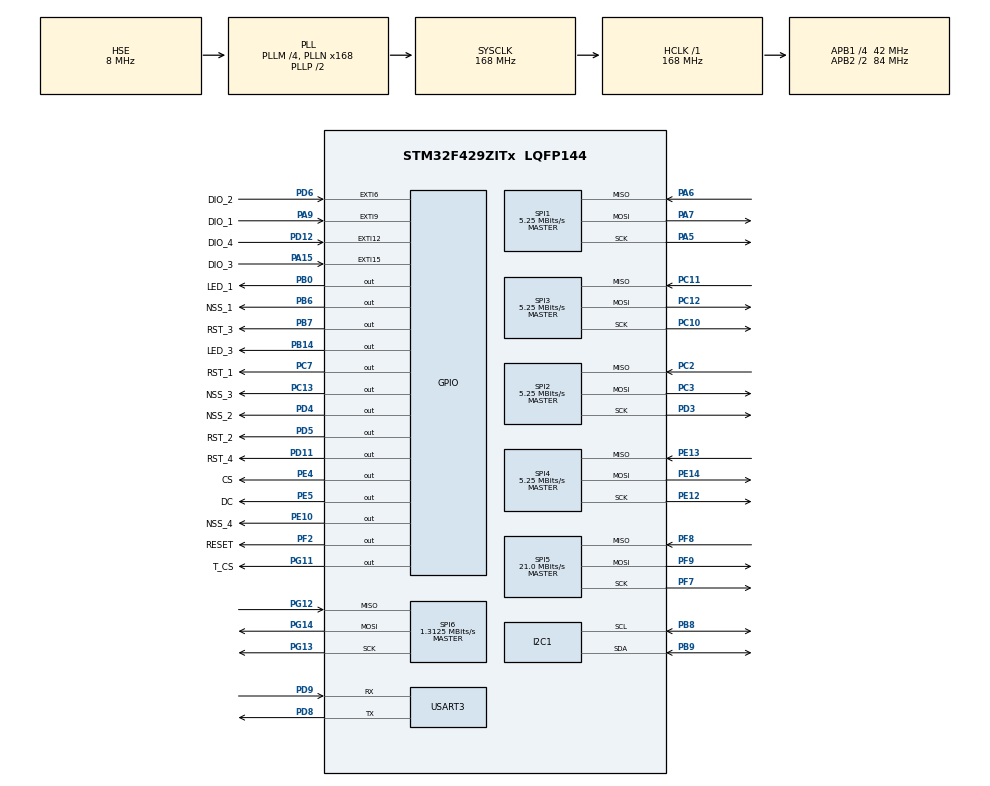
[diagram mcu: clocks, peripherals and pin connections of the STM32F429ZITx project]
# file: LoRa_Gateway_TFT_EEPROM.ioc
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Dma.Request0=SPI5_TX
Dma.SPI5_TX.0.Direction=DMA_MEMORY_TO_PERIPH
Dma.SPI5_TX.0.FIFOMode=DMA_FIFOMODE_DISABLE
Dma.SPI5_TX.0.Instance=DMA2_Stream4
Dma.SPI5_TX.0.MemDataAlignment=DMA_MDATAALIGN_BYTE
Dma.SPI5_TX.0.MemInc=DMA_MINC_ENABLE
Dma.SPI5_TX.0.Mode=DMA_NORMAL
Dma.SPI5_TX.0.PeriphDataAlignment=DMA_PDATAALIGN_BYTE
Dma.SPI5_TX.0.PeriphInc=DMA_PINC_DISABLE
Dma.SPI5_TX.0.Priority=DMA_PRIORITY_LOW
FREERTOS.BinarySemaphores01=sem_lora_uart,Dynamic,NULL,Available
FREERTOS.Tasks01=TaskInit,1,512,Fn_Task_Taskinit,Default,NULL,Dynamic,NULL,NULL;Task_LoRa_1,0,256,Fn_Task_LoRa_First,Default,NULL,Dynamic,NULL,NULL;Task_LoRa_2,0,256,Fn_Task_LoRa_Second,Default,NULL,Dynamic,NULL,NULL;Task_LoRa_3,0,256,Fn_Task_LoRa_Third,Default,NULL,Dynamic,NULL,NULL;Task_LoRa_4,0,256,Fn_Task_LoRa_Fourth,Default,NULL,Dynamic,NULL,NULL;Task_LVGL,0,2048,Fn_Task_Display,Default,NULL,Dynamic,NULL,NULL;Task_Monitor,-2,256,Fn_Task_Monitor,Default,NULL,Dynamic,NULL,NULL
FREERTOS.INCLUDE_uxTaskGetStackHighWaterMark=1
FREERTOS.configTOTAL_HEAP_SIZE=32768
FREERTOS.configMINIMAL_STACK_SIZE=256
FREERTOS.configUSE_NEWLIB_REENTRANT=1
I2C1.I2C_Mode=I2C_Fast
IWDG.Prescaler=IWDG_PRESCALER_64
IWDG.Reload=999
Mcu.Family=STM32F4
Mcu.Name=STM32F429ZITx
Mcu.Package=LQFP144
NVIC.DMA2_Stream4_IRQn=true\:5\:0\:false\:false\:true\:true\:false\:true\:true
NVIC.EXTI15_10_IRQn=true\:5\:0\:false\:false\:true\:true\:true\:true\:true
NVIC.EXTI9_5_IRQn=true\:5\:0\:false\:false\:true\:true\:true\:true\:true
NVIC.I2C1_EV_IRQn=true\:5\:0\:false\:false\:true\:true\:true\:true\:true
NVIC.PriorityGroup=NVIC_PRIORITYGROUP_4
NVIC.RCC_IRQn=true\:5\:0\:false\:false\:true\:true\:true\:false\:true
NVIC.SPI4_IRQn=true\:5\:0\:false\:false\:true\:true\:true\:true\:true
NVIC.SPI5_IRQn=true\:5\:0\:false\:false\:true\:true\:true\:true\:true
NVIC.SPI6_IRQn=true\:5\:0\:false\:false\:true\:true\:true\:true\:true
NVIC.TIM6_DAC_IRQn=true\:15\:0\:false\:false\:true\:false\:false\:true\:true
NVIC.TimeBase=TIM6_DAC_IRQn
NVIC.TimeBaseIP=TIM6
NVIC.USART3_IRQn=true\:5\:0\:false\:false\:true\:true\:true\:true\:true
PA13.Mode=Serial_Wire
PA13.Signal=SYS_JTMS-SWDIO
PA14.Mode=Serial_Wire
PA14.Signal=SYS_JTCK-SWCLK
PA15.GPIO_Label=DIO_3
PA15.Signal=GPXTI15
PA5.Mode=Full_Duplex_Master
PA5.Signal=SPI1_SCK
PA6.Mode=Full_Duplex_Master
PA6.Signal=SPI1_MISO
PA7.Mode=Full_Duplex_Master
PA7.Signal=SPI1_MOSI
PA9.GPIO_Label=DIO_1
PA9.Signal=GPXTI9
PB0.GPIO_Label=LED_1
PB0.Signal=GPIO_Output
PB14.GPIO_Label=LED_3
PB14.Signal=GPIO_Output
PB6.GPIO_Label=NSS_1
PB6.PinState=GPIO_PIN_SET
PB6.Signal=GPIO_Output
PB7.GPIO_Label=RST_3
PB7.PinState=GPIO_PIN_SET
PB7.Signal=GPIO_Output
PB8.Mode=I2C
PB8.Signal=I2C1_SCL
PB9.Mode=I2C
PB9.Signal=I2C1_SDA
PC10.Mode=Full_Duplex_Master
PC10.Signal=SPI3_SCK
PC11.Mode=Full_Duplex_Master
PC11.Signal=SPI3_MISO
PC12.Mode=Full_Duplex_Master
PC12.Signal=SPI3_MOSI
PC13.GPIO_Label=NSS_3
PC13.PinState=GPIO_PIN_SET
PC13.Signal=GPIO_Output
PC14/OSC32_IN.Mode=LSE-External-Oscillator
PC14/OSC32_IN.Signal=RCC_OSC32_IN
PC15/OSC32_OUT.Mode=LSE-External-Oscillator
PC15/OSC32_OUT.Signal=RCC_OSC32_OUT
PC2.Mode=Full_Duplex_Master
PC2.Signal=SPI2_MISO
PC3.Mode=Full_Duplex_Master
PC3.Signal=SPI2_MOSI
PC7.GPIO_Label=RST_1
PC7.PinState=GPIO_PIN_SET
PC7.Signal=GPIO_Output
PD11.GPIO_Label=RST_4
PD11.PinState=GPIO_PIN_SET
PD11.Signal=GPIO_Output
PD12.GPIO_Label=DIO_4
PD12.Signal=GPXTI12
PD3.Mode=Full_Duplex_Master
PD3.Signal=SPI2_SCK
PD4.GPIO_Label=NSS_2
PD4.PinState=GPIO_PIN_SET
PD4.Signal=GPIO_Output
PD5.GPIO_Label=RST_2
PD5.PinState=GPIO_PIN_SET
PD5.Signal=GPIO_Output
PD6.GPIO_Label=DIO_2
PD6.Signal=GPXTI6
PD8.Mode=Asynchronous
PD8.Signal=USART3_TX
PD9.Mode=Asynchronous
PD9.Signal=USART3_RX
PE10.GPIO_Label=NSS_4
PE10.PinState=GPIO_PIN_SET
PE10.Signal=GPIO_Output
PE12.Mode=Full_Duplex_Master
PE12.Signal=SPI4_SCK
PE13.Mode=Full_Duplex_Master
PE13.Signal=SPI4_MISO
PE14.Mode=Full_Duplex_Master
PE14.Signal=SPI4_MOSI
PE4.GPIO_Label=CS
PE4.Signal=GPIO_Output
PE5.GPIO_Label=DC
PE5.Signal=GPIO_Output
PF2.GPIO_Label=RESET
PF2.Signal=GPIO_Output
PF7.Mode=Full_Duplex_Master
PF7.Signal=SPI5_SCK
PF8.Mode=Full_Duplex_Master
PF8.Signal=SPI5_MISO
PF9.Mode=Full_Duplex_Master
PF9.Signal=SPI5_MOSI
PG11.GPIO_Label=T_CS
PG11.PinState=GPIO_PIN_SET
PG11.Signal=GPIO_Output
PG12.Mode=Full_Duplex_Master
PG12.Signal=SPI6_MISO
PG13.Mode=Full_Duplex_Master
PG13.Signal=SPI6_SCK
PG14.Mode=Full_Duplex_Master
PG14.Signal=SPI6_MOSI
PH0/OSC_IN.Mode=HSE-External-Oscillator
PH0/OSC_IN.Signal=RCC_OSC_IN
PH1/OSC_OUT.Mode=HSE-External-Oscillator
PH1/OSC_OUT.Signal=RCC_OSC_OUT
ProjectManager.HeapSize=0x200
ProjectManager.StackSize=0x400
ProjectManager.TargetToolchain=STM32CubeIDE
RCC.48MHZClocksFreq_Value=48000000
RCC.AHBFreq_Value=168000000
RCC.APB1CLKDivider=RCC_HCLK_DIV4
RCC.APB1Freq_Value=42000000
RCC.APB1TimFreq_Value=84000000
RCC.APB2CLKDivider=RCC_HCLK_DIV2
RCC.APB2Freq_Value=84000000
RCC.APB2TimCLKDivider=2
RCC.APB2TimFreq_Value=168000000
RCC.CortexFreq_Value=168000000
RCC.HCLKFreq_Value=168000000
RCC.HSE_VALUE=8000000
RCC.HSI_VALUE=16000000
RCC.PLLM=4
RCC.PLLMUL=RCC_PLL_MUL9
RCC.PLLN=168
RCC.PLLQ=7
RCC.PLLSourceVirtual=RCC_PLLSOURCE_HSE
RCC.PRESCALERUSB=RCC_USBCLKSOURCE_PLL_DIV1_5
RCC.RCC_RTC_Clock_Source=RCC_RTCCLKSOURCE_LSE
RCC.SYSCLKFreq_VALUE=168000000
RCC.SYSCLKSource=RCC_SYSCLKSOURCE_PLLCLK
RCC.SYSCLKSourceVirtual=RCC_SYSCLKSOURCE_PLLCLK
RCC.USBFreq_Value=48000000
RCC.VCOOutputFreq_Value=336000000
SPI1.BaudRatePrescaler=SPI_BAUDRATEPRESCALER_16
SPI1.CalculateBaudRate=5.25 MBits/s
SPI1.Direction=SPI_DIRECTION_2LINES
SPI1.Mode=SPI_MODE_MASTER
SPI1.VirtualType=VM_MASTER
SPI2.BaudRatePrescaler=SPI_BAUDRATEPRESCALER_8
SPI2.CalculateBaudRate=5.25 MBits/s
SPI2.Direction=SPI_DIRECTION_2LINES
SPI2.Mode=SPI_MODE_MASTER
SPI2.VirtualType=VM_MASTER
SPI3.BaudRatePrescaler=SPI_BAUDRATEPRESCALER_8
SPI3.CalculateBaudRate=5.25 MBits/s
SPI3.Direction=SPI_DIRECTION_2LINES
SPI3.Mode=SPI_MODE_MASTER
SPI3.VirtualType=VM_MASTER
SPI4.BaudRatePrescaler=SPI_BAUDRATEPRESCALER_16
SPI4.CalculateBaudRate=5.25 MBits/s
SPI4.Direction=SPI_DIRECTION_2LINES
SPI4.Mode=SPI_MODE_MASTER
SPI4.VirtualType=VM_MASTER
SPI5.BaudRatePrescaler=SPI_BAUDRATEPRESCALER_4
SPI5.CalculateBaudRate=21.0 MBits/s
SPI5.Direction=SPI_DIRECTION_2LINES
SPI5.Mode=SPI_MODE_MASTER
SPI5.VirtualType=VM_MASTER
SPI6.BaudRatePrescaler=SPI_BAUDRATEPRESCALER_64
SPI6.CalculateBaudRate=1.3125 MBits/s
SPI6.Direction=SPI_DIRECTION_2LINES
SPI6.Mode=SPI_MODE_MASTER
SPI6.VirtualType=VM_MASTER
USART3.VirtualMode=VM_ASYNC
VP_FREERTOS_VS_CMSIS_V1.Mode=CMSIS_V1
VP_RTC_VS_RTC_Activate.Mode=RTC_Enabled
VP_RTC_VS_RTC_Calendar.Mode=RTC_Calendar
VP_SYS_VS_tim6.Mode=TIM6
VP_IWDG_VS_IWDG.Mode=IWDG_Activate
board=NUCLEO-F429ZI

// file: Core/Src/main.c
#include "main.h"
#include "cmsis_os.h"
#include "dma.h"
#include "i2c.h"
#include "rtc.h"
#include "spi.h"
#include "usart.h"
#include "iwdg.h"
#include "gpio.h"

void SystemClock_Config(void);
void MX_FREERTOS_Init(void);

int main(void)
{
  HAL_Init();
  SystemClock_Config();
  MX_GPIO_Init();
  MX_DMA_Init();
  MX_I2C1_Init();
  MX_SPI1_Init();
  MX_SPI2_Init();
  MX_SPI3_Init();
  MX_SPI4_Init();
  MX_SPI5_Init();
  MX_SPI6_Init();
  MX_USART3_UART_Init();
  /* MX_IWDG_Init() is deliberately NOT called here. The monitor task
     starts the watchdog itself, so it can never be left running before
     anything exists to feed it. See monitor.c. */
  MX_RTC_Init();

  MX_FREERTOS_Init();

  osKernelStart();

  while (1)
  {

  }
}

void SystemClock_Config(void)
{
  RCC_OscInitTypeDef RCC_OscInitStruct = {0};
  RCC_ClkInitTypeDef RCC_ClkInitStruct = {0};

  /** Configure the main internal regulator output voltage
  */
  __HAL_RCC_PWR_CLK_ENABLE();
  __HAL_PWR_VOLTAGESCALING_CONFIG(PWR_REGULATOR_VOLTAGE_SCALE1);

  /** Initializes the RCC Oscillators according to the specified parameters
  * in the RCC_OscInitTypeDef structure.
  */
  RCC_OscInitStruct.OscillatorType = RCC_OSCILLATORTYPE_HSE|RCC_OSCILLATORTYPE_LSE;
  RCC_OscInitStruct.HSEState = RCC_HSE_ON;
  RCC_OscInitStruct.LSEState = RCC_LSE_ON;
  RCC_OscInitStruct.PLL.PLLState = RCC_PLL_ON;
  RCC_OscInitStruct.PLL.PLLSource = RCC_PLLSOURCE_HSE;
  RCC_OscInitStruct.PLL.PLLM = 4;
  RCC_OscInitStruct.PLL.PLLN = 168;
  RCC_OscInitStruct.PLL.PLLP = RCC_PLLP_DIV2;
  RCC_OscInitStruct.PLL.PLLQ = 7;
  if (HAL_RCC_OscConfig(&RCC_OscInitStruct) != HAL_OK)
  {
    Error_Handler();
  }

  /** Initializes the CPU, AHB and APB buses clocks
  */
  RCC_ClkInitStruct.ClockType = RCC_CLOCKTYPE_HCLK|RCC_CLOCKTYPE_SYSCLK
                              |RCC_CLOCKTYPE_PCLK1|RCC_CLOCKTYPE_PCLK2;
  RCC_ClkInitStruct.SYSCLKSource = RCC_SYSCLKSOURCE_PLLCLK;
  RCC_ClkInitStruct.AHBCLKDivider = RCC_SYSCLK_DIV1;
  RCC_ClkInitStruct.APB1CLKDivider = RCC_HCLK_DIV4;
  RCC_ClkInitStruct.APB2CLKDivider = RCC_HCLK_DIV2;

  if (HAL_RCC_ClockConfig(&RCC_ClkInitStruct, FLASH_LATENCY_5) != HAL_OK)
  {
    Error_Handler();
  }
}

void HAL_TIM_PeriodElapsedCallback(TIM_HandleTypeDef *htim)
{
  if (htim->Instance == TIM6)
  {
    HAL_IncTick();
  }
}

void Error_Handler(void)
{
  __disable_irq();
  while (1)
  {
  }
}

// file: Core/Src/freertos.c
/* USER CODE BEGIN Header */
/*
 * freertos.c
 *
 *  Task creation. TaskInit = device configuration (EEPROM JSON or defaults).
 */
/* USER CODE END Header */

#include "FreeRTOS.h"
#include "task.h"
#include "main.h"
#include "cmsis_os.h"

/* USER CODE BEGIN Includes */
#include "utils.h"
#include "usart.h"
#include "eeprom_operation.h"
#include "DeviceConfigJSON.h"
#include "radio_manager.h"
#include "packet_log.h"
#include "node_table.h"
#include "monitor.h"
#include "lvgl_port.h"
#include "gui_manager.h"
#include "xpt2046.h"
#include "lvgl.h"
#include "uplink.h"
#include "gw_command.h"
/* USER CODE END Includes */

osThreadId TaskInitHandle;
osThreadId Task_LoRa_1Handle;
osThreadId Task_LoRa_2Handle;
osThreadId Task_LoRa_3Handle;
osThreadId Task_LoRa_4Handle;
osThreadId Task_LVGLHandle;
osThreadId Task_MonitorHandle;
osSemaphoreId sem_lora_uartHandle;

/* USER CODE BEGIN Variables */
osMutexId mtx_configHandle;     /* protects sLoRaGtwConfParam */

extern UART_HandleTypeDef huart3;
/* USER CODE END Variables */

void Fn_Task_Taskinit(void const * argument);
void Fn_Task_LoRa_First(void const * argument);
void Fn_Task_LoRa_Second(void const * argument);
void Fn_Task_LoRa_Third(void const * argument);
void Fn_Task_LoRa_Fourth(void const * argument);
void Fn_Task_Display(void const * argument);
void Fn_Task_Monitor(void const * argument);

void MX_FREERTOS_Init(void); /* (MISRA C 2004 rule 8.1) */

/* USER CODE BEGIN FunctionPrototypes */
static void _Fn_Uart_Print (const char *chMsg);
static uint8_t _Fn_Reset_Reason (void);
/* USER CODE END FunctionPrototypes */

/* GetIdleTaskMemory prototype (linked to static allocation support) */
void vApplicationGetIdleTaskMemory( StaticTask_t **ppxIdleTaskTCBBuffer, StackType_t **ppxIdleTaskStackBuffer, uint32_t *pulIdleTaskStackSize );

/* USER CODE BEGIN GET_IDLE_TASK_MEMORY */
static StaticTask_t xIdleTaskTCBBuffer;
static StackType_t xIdleStack[configMINIMAL_STACK_SIZE];

void vApplicationGetIdleTaskMemory( StaticTask_t **ppxIdleTaskTCBBuffer, StackType_t **ppxIdleTaskStackBuffer, uint32_t *pulIdleTaskStackSize )
{
  *ppxIdleTaskTCBBuffer = &xIdleTaskTCBBuffer;
  *ppxIdleTaskStackBuffer = &xIdleStack[0];
  *pulIdleTaskStackSize = configMINIMAL_STACK_SIZE;
}
/* USER CODE END GET_IDLE_TASK_MEMORY */

void MX_FREERTOS_Init(void)
{
  /* USER CODE BEGIN RTOS_MUTEX */
  osMutexDef(mtx_config);
  mtx_configHandle = osMutexCreate(osMutex(mtx_config));
  /* USER CODE END RTOS_MUTEX */

  osSemaphoreDef(sem_lora_uart);
  sem_lora_uartHandle = osSemaphoreCreate(osSemaphore(sem_lora_uart), 1);

  /* TaskInit stack 512 words: cJSON parse/print runs here (set the same in the .ioc) */
  osThreadDef(TaskInit, Fn_Task_Taskinit, osPriorityAboveNormal, 0, 512);
  TaskInitHandle = osThreadCreate(osThread(TaskInit), NULL);

  osThreadDef(Task_LoRa_1, Fn_Task_LoRa_First, osPriorityNormal, 0, 256);
  Task_LoRa_1Handle = osThreadCreate(osThread(Task_LoRa_1), NULL);

  osThreadDef(Task_LoRa_2, Fn_Task_LoRa_Second, osPriorityNormal, 0, 256);
  Task_LoRa_2Handle = osThreadCreate(osThread(Task_LoRa_2), NULL);

  osThreadDef(Task_LoRa_3, Fn_Task_LoRa_Third, osPriorityNormal, 0, 256);
  Task_LoRa_3Handle = osThreadCreate(osThread(Task_LoRa_3), NULL);

  osThreadDef(Task_LoRa_4, Fn_Task_LoRa_Fourth, osPriorityNormal, 0, 256);
  Task_LoRa_4Handle = osThreadCreate(osThread(Task_LoRa_4), NULL);

  /* LVGL rendering needs far more than the 256 word default (set the same in the .ioc) */
  osThreadDef(Task_LVGL, Fn_Task_Display, osPriorityNormal, 0, 2048);
  Task_LVGLHandle = osThreadCreate(osThread(Task_LVGL), NULL);

  /* Supervisor and watchdog. Low priority on purpose: it must only run
     when every other task has had its turn. */
  osThreadDef(Task_Monitor, Fn_Task_Monitor, osPriorityLow, 0, 256);
  Task_MonitorHandle = osThreadCreate(osThread(Task_Monitor), NULL);
}

/* USER CODE BEGIN Header_Fn_Task_Taskinit */
/**
  * Task 1: device configuration. Runs once, then deletes itself.
  *
  *  EEPROM init -> valid JSON in the JSON region?
  *    yes : parse JSON -> memcpy into sLoRaGtwConfParam -> configure the 4 LoRa modules from it
  *    no  : Fn_Def_LoRa_1st/2nd/3rd/4th_Init() (defaults) -> generate JSON -> store in EEPROM
  */
/* USER CODE END Header_Fn_Task_Taskinit */
void Fn_Task_Taskinit(void const * argument)
{
  /* USER CODE BEGIN Fn_Task_Taskinit */
  static char chJsonBuf[EEPROM_JSON_MAX_LEN + 1U];
  EnumEEPROMSts enEepSts;
  EnumEEPROMSts enSaveSts;
  enJSON_ProcessStatus enJsonSts = enum_ERROR_JSON_FORMAT;
  char *pchJson;
  char chLine[80];
  uint8_t i;

  memset(&sLoRaGtwConfParam, 0, sizeof(sLoRaGtwConfParam));

  /* 1. EEPROM, JSON library and the received packet ring */
  Fn_JSON_Init();       /* cJSON -> pvPortMalloc / vPortFree */
  Fn_EEPROM_Init();     /* EEPROM bus mutex                  */
  Fn_PktLog_Init();     /* packet ring mutex                 */
  Fn_NodeTable_Init();  /* node table and whitelist          */
  (void)Fn_NodeTable_Whitelist_Load();

  /* 1a. Boot counter and reset reason, kept in the EEPROM header. */
  {
    StructEepromHdr sHdr;

    if (Fn_EEPROM_Hdr_Read(&sHdr) != en_EEPROM_OK)
    {
      (void)memset(&sHdr, 0, sizeof(sHdr));
      sHdr.u8ActiveSlot = 1U;       /* first config write goes to slot A */
    }

    sHdr.u32BootCount++;
    sHdr.u8ResetReason = _Fn_Reset_Reason();
    (void)Fn_EEPROM_Hdr_Write(&sHdr);
  }

  /* 2. Valid JSON in the EEPROM region? */
  enEepSts = Fn_EEPROM_JSON_Read(chJsonBuf, sizeof(chJsonBuf));

  if (enEepSts == en_EEPROM_OK)
  {
    /* 3a. Parse -> validate -> copy into sLoRaGtwConfParam */
    enJsonSts = FnProcessLoRaConfig(chJsonBuf);
  }

  if ((enEepSts == en_EEPROM_OK) && (enJsonSts == enum_JSON_PROCESS_OK))
  {
    /* 4a. Configure the LoRa modules from sLoRaGtwConfParam
     *     (each call writes the running settings + status back into it) */
    for (i = 0U; i < DEF_MAX_LoRa_Module; i++)
    {
      (void)Fn_LoRa_Init_From_Conf(i);
    }
    _Fn_Uart_Print("\r\nConfig: loaded from EEPROM\r\n");
  }
  else
  {
    /* 3b. No valid JSON: default configuration
     *     (each call writes the running settings + status into sLoRaGtwConfParam) */
    (void)Fn_Def_LoRa_1st_Init();
    (void)Fn_Def_LoRa_2nd_Init();
    (void)Fn_Def_LoRa_3rd_Init();
    (void)Fn_Def_LoRa_4th_Init();

    /* 4b. Generate JSON from sLoRaGtwConfParam and store it */
    pchJson = Fn_JSON_LoRa_Config_Generate();
    enSaveSts = (pchJson != NULL) ? Fn_EEPROM_JSON_Write(pchJson) : en_EEPROM_ERR_PARAM;
    if (pchJson != NULL)
    {
      cJSON_free(pchJson);
    }

    (void)snprintf(chLine, sizeof(chLine), "\r\nConfig: defaults (EEPROM read %d, JSON %d), saved to EEPROM: %s\r\n",
                   (int)enEepSts, (int)enJsonSts, (enSaveSts == en_EEPROM_OK) ? "OK" : "FAILED");
    _Fn_Uart_Print(chLine);
  }

  /* 5. Report: active configuration and radio status on UART3 */
  pchJson = Fn_JSON_LoRa_Config_Generate();
  if (pchJson != NULL)
  {
    _Fn_Uart_Print(pchJson);
    _Fn_Uart_Print("\r\n");
    cJSON_free(pchJson);
  }

  for (i = 0U; i < DEF_MAX_LoRa_Module; i++)
  {
    (void)snprintf(chLine, sizeof(chLine), "LoRa%u: %s\r\n", (unsigned)(i + 1U),
                   (sLoRaGtwConfParam.sLoRaConf[i].enLoRaSts == en_LoRa_init_Success) ? "OK"       :
                   (sLoRaGtwConfParam.sLoRaConf[i].enLoRaSts == en_LoRa_Disabled)     ? "disabled" :
                   (sLoRaGtwConfParam.sLoRaConf[i].enLoRaSts == en_LoRa_init_Fail)    ? "not found (0x42 != 0x12)" :
                                                                         "unavailable");
    _Fn_Uart_Print(chLine);
  }

  osThreadTerminate(NULL);
  /* USER CODE END Fn_Task_Taskinit */
}

/* The four radios sit on four independent SPI peripherals, so one task
 * each lets their FIFO reads run in parallel. They all run the same body
 * in radio_manager.c, so there is only one implementation to maintain. */
void Fn_Task_LoRa_First(void const * argument)
{
  /* USER CODE BEGIN Fn_Task_LoRa_First */
  Fn_Radio_Task_Service(DEF_LoRa_Module_1);
  /* USER CODE END Fn_Task_LoRa_First */
}

void Fn_Task_LoRa_Second(void const * argument)
{
  /* USER CODE BEGIN Fn_Task_LoRa_Second */
  Fn_Radio_Task_Service(DEF_LoRa_Module_2);
  /* USER CODE END Fn_Task_LoRa_Second */
}

void Fn_Task_LoRa_Third(void const * argument)
{
  /* USER CODE BEGIN Fn_Task_LoRa_Third */
  Fn_Radio_Task_Service(DEF_LoRa_Module_3);
  /* USER CODE END Fn_Task_LoRa_Third */
}

void Fn_Task_LoRa_Fourth(void const * argument)
{
  /* USER CODE BEGIN Fn_Task_LoRa_Fourth */
  Fn_Radio_Task_Service(DEF_LoRa_Module_4);
  /* USER CODE END Fn_Task_LoRa_Fourth */
}

void Fn_Task_Display(void const * argument)
{
  /* USER CODE BEGIN Fn_Task_Display */
  char chLine[112];
  StructTouchCal sCal;

  osDelay(800);                 /* let TaskInit finish its UART report */

  Fn_LVGL_Port_Init();          /* ILI9341 + XPT2046 + LVGL core */

  (void)snprintf(chLine, sizeof(chLine), "LVGL %u.%u.%u up, starting touch calibration\r\n",
                 (unsigned)LVGL_VERSION_MAJOR, (unsigned)LVGL_VERSION_MINOR,
                 (unsigned)LVGL_VERSION_PATCH);
  _Fn_Uart_Print(chLine);

  /* Stored calibration wins: only a blank or damaged record makes the
     user touch crosshairs again. */
  if (Fn_EEPROM_Record_Read(EEPROM_TOUCHCAL_ADDR, EEPROM_TOUCHCAL_MAGIC,
                            &sCal, (uint16_t)sizeof(sCal)) == en_EEPROM_OK)
  {
    Fn_XPT2046_Set_Calibration(&sCal);
    _Fn_Uart_Print("TOUCH cal: loaded from EEPROM\r\n");
  }
  else
  {
    bool bCalOk = false;
    uint8_t u8Try;

    /* A rejected calibration is worth asking again for: falling back to
       the defaults leaves touch unusable. */
    for (u8Try = 0U; (u8Try < 3U) && !bCalOk; u8Try++)
    {
      bCalOk = Fn_GUI_Calibrate();
      if (!bCalOk)
      {
        StructCalDebug sDbg;
        uint8_t k;

        Fn_GUI_Get_Cal_Debug(&sDbg);
        (void)snprintf(chLine, sizeof(chLine),
                       "TOUCH cal rejected: reason=%u pts=%u edges L%u R%u T%u B%u spread %u/%u swap=%u\r\n",
                       (unsigned)sDbg.enResult, (unsigned)sDbg.u8Points,
                       (unsigned)sDbg.u16Edge[0], (unsigned)sDbg.u16Edge[1],
                       (unsigned)sDbg.u16Edge[2], (unsigned)sDbg.u16Edge[3],
                       (unsigned)sDbg.u16SpreadA, (unsigned)sDbg.u16SpreadB,
                       (unsigned)sDbg.bSwap);
        _Fn_Uart_Print(chLine);

        for (k = 0U; k < sDbg.u8Points; k++)
        {
          (void)snprintf(chLine, sizeof(chLine), "  pt%u raw x=%4u y=%4u\r\n",
                         (unsigned)(k + 1U),
                         (unsigned)sDbg.u16RawX[k], (unsigned)sDbg.u16RawY[k]);
          _Fn_Uart_Print(chLine);
        }
      }
    }

    if (bCalOk)
    {
      EnumEEPROMSts enSave;

      Fn_XPT2046_Get_Calibration(&sCal);
      enSave = Fn_EEPROM_Record_Write(EEPROM_TOUCHCAL_ADDR, EEPROM_TOUCHCAL_MAGIC,
                                      &sCal, (uint16_t)sizeof(sCal));

      (void)snprintf(chLine, sizeof(chLine),
                     "TOUCH cal OK: x %u..%u y %u..%u swap=%u saved=%s\r\n",
                     (unsigned)sCal.u16RawXMin, (unsigned)sCal.u16RawXMax,
                     (unsigned)sCal.u16RawYMin, (unsigned)sCal.u16RawYMax,
                     (unsigned)sCal.bSwapXY,
                     (enSave == en_EEPROM_OK) ? "yes" : "FAILED");
    }
    else
    {
      (void)snprintf(chLine, sizeof(chLine), "TOUCH cal: gave up, using defaults\r\n");
    }
    _Fn_Uart_Print(chLine);
  }

  Fn_GUI_Init();                /* builds all six screens */

  /* All six screens are built up front, so this is the peak LVGL pool
     usage. Worth reporting: exhausting it asserts inside LVGL, which
     looks like a hang rather than an allocation failure. */
  {
    lv_mem_monitor_t sMon;

    lv_mem_monitor(&sMon);
    (void)snprintf(chLine, sizeof(chLine),
                   "GUI: 6 screens up, LVGL pool %u%% used, %lu B free\r\n",
                   (unsigned)sMon.used_pct, (unsigned long)sMon.free_size);
    _Fn_Uart_Print(chLine);
  }

  /* From here USART3 carries machine readable JSON lines as well as the
     boot log. A PC tool keys on the leading brace and ignores the rest. */
  Fn_Uplink_Hello();

  /* Arms interrupt driven reception so a PC can configure the gateway.
     Started after the hello so the feed is already announced. */
  Fn_Command_Init();

  for(;;)
  {
    Fn_Monitor_Checkin(en_Mon_LVGL);

    /* LVGL 8.3 is not thread safe: it is only ever touched from here. */
    (void)lv_timer_handler();
    osDelay(5);
  }
  /* USER CODE END Fn_Task_Display */
}

void Fn_Task_Monitor(void const * argument)
{
  /* USER CODE BEGIN Fn_Task_Monitor */
  Fn_Monitor_Task_Service();
  /* USER CODE END Fn_Task_Monitor */
}

/* USER CODE BEGIN Application */
/* Read once at start-up, then cleared so the next reset reports its own
 * cause. The watchdog and software flags are checked before the pin and
 * power-on flags, which are often set alongside them. */
static uint8_t _Fn_Reset_Reason (void)
{
  uint8_t u8Reason = (uint8_t)en_Reset_Unknown;

  if      (__HAL_RCC_GET_FLAG(RCC_FLAG_IWDGRST)) { u8Reason = (uint8_t)en_Reset_Iwdg;     }
  else if (__HAL_RCC_GET_FLAG(RCC_FLAG_WWDGRST)) { u8Reason = (uint8_t)en_Reset_Wwdg;     }
  else if (__HAL_RCC_GET_FLAG(RCC_FLAG_SFTRST))  { u8Reason = (uint8_t)en_Reset_Software; }
  else if (__HAL_RCC_GET_FLAG(RCC_FLAG_LPWRRST)) { u8Reason = (uint8_t)en_Reset_LowPower; }
  else if (__HAL_RCC_GET_FLAG(RCC_FLAG_BORRST))  { u8Reason = (uint8_t)en_Reset_BrownOut; }
  else if (__HAL_RCC_GET_FLAG(RCC_FLAG_PORRST))  { u8Reason = (uint8_t)en_Reset_PowerOn;  }
  else if (__HAL_RCC_GET_FLAG(RCC_FLAG_PINRST))  { u8Reason = (uint8_t)en_Reset_Pin;      }

  __HAL_RCC_CLEAR_RESET_FLAGS();

  return u8Reason;
}

static void _Fn_Uart_Print (const char *chMsg)
{
  if (chMsg == NULL)
  {
    return;
  }

  osSemaphoreWait(sem_lora_uartHandle, osWaitForever);
  (void)HAL_UART_Transmit(&huart3, (uint8_t *)chMsg, (uint16_t)strlen(chMsg), 1000U);
  osSemaphoreRelease(sem_lora_uartHandle);
}
/* USER CODE END Application */
